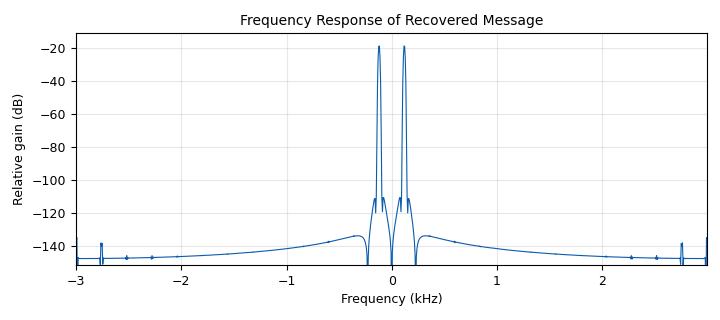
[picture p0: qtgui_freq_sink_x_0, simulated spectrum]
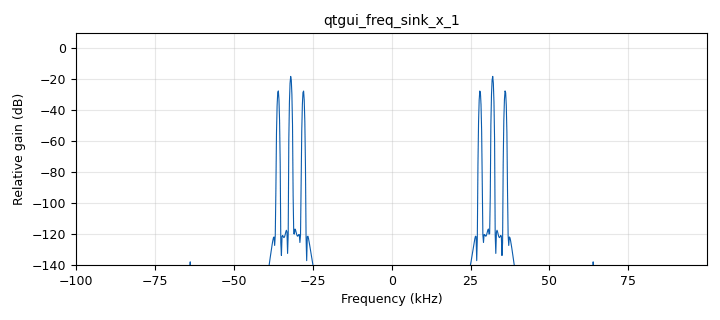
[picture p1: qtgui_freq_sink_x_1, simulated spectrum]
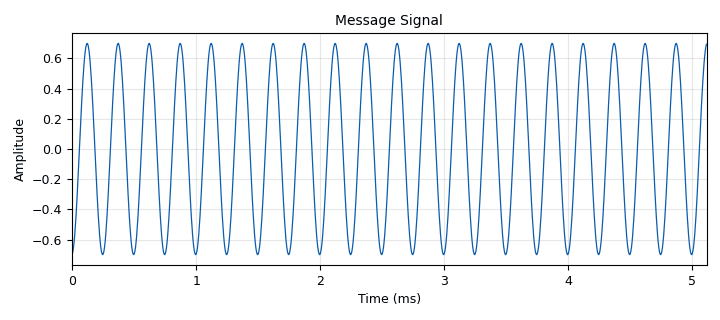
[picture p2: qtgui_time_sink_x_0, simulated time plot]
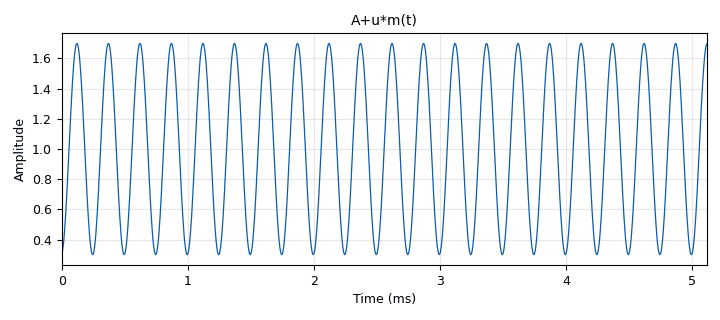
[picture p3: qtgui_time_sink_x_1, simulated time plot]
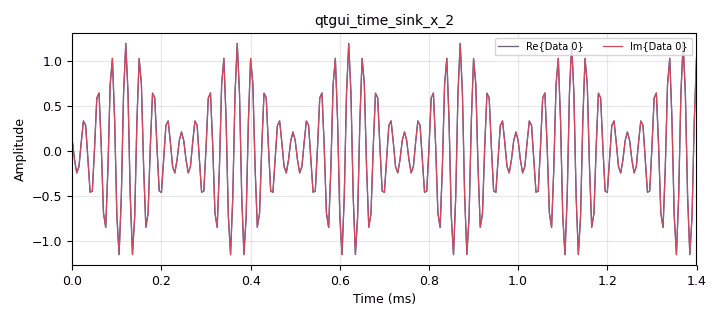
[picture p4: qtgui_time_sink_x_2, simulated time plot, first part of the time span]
<?xml version='1.0' encoding='utf-8'?>
<?grc format='1' created='3.7.9'?>
<flow_graph>
<block>
<key>options</key>
<param><key>id</key><value>AM_TX</value></param>
<param><key>category</key><value>Custom</value></param>
<param><key>generate_options</key><value>qt_gui</value></param>
</block>
<block>
<key>variable_qtgui_range</key>
<param><key>id</key><value>A</value></param>
<param><key>value</key><value>1</value></param>
<param><key>label</key><value>Amplitude</value></param>
<param><key>orient</key><value>Qt.Horizontal</value></param>
<param><key>start</key><value>0</value></param>
<param><key>step</key><value>0.1</value></param>
<param><key>stop</key><value>1</value></param>
</block>
<block>
<key>variable_qtgui_range</key>
<param><key>id</key><value>fc</value></param>
<param><key>value</key><value>32000</value></param>
<param><key>orient</key><value>Qt.Horizontal</value></param>
<param><key>start</key><value>16000</value></param>
<param><key>step</key><value>100</value></param>
<param><key>stop</key><value>samp_rate/2</value></param>
</block>
<block>
<key>variable_qtgui_range</key>
<param><key>id</key><value>fm</value></param>
<param><key>value</key><value>4000</value></param>
<param><key>label</key><value>Modulation/Message Signal Frequency</value></param>
<param><key>orient</key><value>Qt.Horizontal</value></param>
<param><key>start</key><value>0</value></param>
<param><key>step</key><value>1</value></param>
<param><key>stop</key><value>10000</value></param>
</block>
<block>
<key>variable_qtgui_range</key>
<param><key>id</key><value>gain</value></param>
<param><key>value</key><value>50</value></param>
<param><key>orient</key><value>Qt.Horizontal</value></param>
<param><key>start</key><value>0</value></param>
<param><key>step</key><value>1</value></param>
<param><key>stop</key><value>100</value></param>
</block>
<block>
<key>variable</key>
<param><key>id</key><value>samp_rate</value></param>
<param><key>value</key><value>200000</value></param>
</block>
<block>
<key>variable_qtgui_range</key>
<param><key>id</key><value>u</value></param>
<param><key>value</key><value>1</value></param>
<param><key>label</key><value>Modulation Index</value></param>
<param><key>orient</key><value>Qt.Horizontal</value></param>
<param><key>start</key><value>0</value></param>
<param><key>step</key><value>200</value></param>
<param><key>stop</key><value>2</value></param>
</block>
<block>
<key>analog_sig_source_x</key>
<param><key>id</key><value>analog_sig_source_x_0</value></param>
<param><key>amp</key><value>0.7</value></param>
<param><key>freq</key><value>fm</value></param>
<param><key>offset</key><value>0</value></param>
<param><key>type</key><value>float</value></param>
<param><key>samp_rate</key><value>samp_rate</value></param>
<param><key>waveform</key><value>analog.GR_COS_WAVE</value></param>
</block>
<block>
<key>analog_sig_source_x</key>
<param><key>id</key><value>analog_sig_source_x_1</value></param>
<param><key>amp</key><value>0.7</value></param>
<param><key>freq</key><value>fc</value></param>
<param><key>offset</key><value>0</value></param>
<param><key>type</key><value>float</value></param>
<param><key>samp_rate</key><value>samp_rate</value></param>
<param><key>waveform</key><value>analog.GR_COS_WAVE</value></param>
</block>
<block>
<key>blocks_add_const_vxx</key>
<param><key>id</key><value>blocks_add_const_vxx_0</value></param>
<param><key>const</key><value>A</value></param>
<param><key>type</key><value>float</value></param>
</block>
<block>
<key>blocks_float_to_complex</key>
<param><key>id</key><value>blocks_float_to_complex_0</value></param>
</block>
<block>
<key>blocks_multiply_const_vxx</key>
<param><key>id</key><value>blocks_multiply_const_vxx_0</value></param>
<param><key>const</key><value>u</value></param>
<param><key>type</key><value>float</value></param>
</block>
<block>
<key>blocks_multiply_xx</key>
<param><key>id</key><value>blocks_multiply_xx_0</value></param>
<param><key>type</key><value>float</value></param>
</block>
<block>
<key>qtgui_freq_sink_x</key>
<param><key>id</key><value>qtgui_freq_sink_x_0</value></param>
<param><key>autoscale</key><value>True</value></param>
<param><key>bw</key><value>6e3</value></param>
<param><key>fc</key><value>0</value></param>
<param><key>fftsize</key><value>1024</value></param>
<param><key>name</key><value>Frequency Response of Recovered Message</value></param>
<param><key>showports</key><value>True</value></param>
<param><key>type</key><value>float</value></param>
<param><key>update_time</key><value>0.30</value></param>
<param><key>wintype</key><value>firdes.WIN_BLACKMAN_hARRIS</value></param>
</block>
<block>
<key>qtgui_freq_sink_x</key>
<param><key>id</key><value>qtgui_freq_sink_x_1</value></param>
<param><key>bw</key><value>samp_rate</value></param>
<param><key>fc</key><value>0</value></param>
<param><key>fftsize</key><value>1024</value></param>
<param><key>showports</key><value>True</value></param>
<param><key>type</key><value>float</value></param>
<param><key>wintype</key><value>firdes.WIN_BLACKMAN_hARRIS</value></param>
</block>
<block>
<key>qtgui_time_sink_x</key>
<param><key>id</key><value>qtgui_time_sink_x_0</value></param>
<param><key>autoscale</key><value>True</value></param>
<param><key>color1</key><value>"blue"</value></param>
<param><key>label1</key><value></value></param>
<param><key>name</key><value>Message Signal</value></param>
<param><key>size</key><value>1024</value></param>
<param><key>srate</key><value>samp_rate</value></param>
<param><key>type</key><value>float</value></param>
<param><key>update_time</key><value>0.30</value></param>
</block>
<block>
<key>qtgui_time_sink_x</key>
<param><key>id</key><value>qtgui_time_sink_x_1</value></param>
<param><key>autoscale</key><value>True</value></param>
<param><key>color1</key><value>"blue"</value></param>
<param><key>label1</key><value></value></param>
<param><key>name</key><value>A+u*m(t)</value></param>
<param><key>size</key><value>1024</value></param>
<param><key>srate</key><value>samp_rate</value></param>
<param><key>type</key><value>float</value></param>
<param><key>update_time</key><value>0.30</value></param>
</block>
<block>
<key>qtgui_time_sink_x</key>
<param><key>id</key><value>qtgui_time_sink_x_2</value></param>
<param><key>autoscale</key><value>True</value></param>
<param><key>color1</key><value>"blue"</value></param>
<param><key>label1</key><value></value></param>
<param><key>color2</key><value>"red"</value></param>
<param><key>label2</key><value></value></param>
<param><key>size</key><value>1024</value></param>
<param><key>srate</key><value>samp_rate</value></param>
<param><key>type</key><value>complex</value></param>
</block>
<block>
<key>uhd_usrp_sink</key>
<param><key>id</key><value>uhd_usrp_sink_0</value></param>
<param><key>ant0</key><value>TX/RX</value></param>
<param><key>bw0</key><value>200e6</value></param>
<param><key>center_freq0</key><value>1280e6</value></param>
<param><key>norm_gain0</key><value>False</value></param>
<param><key>gain0</key><value>gain</value></param>
<param><key>clock_rate</key><value>0.0</value></param>
<param><key>dev_addr</key><value>addr=192.168.10.2</value></param>
<param><key>dev_args</key><value>""</value></param>
<param><key>type</key><value>fc32</value></param>
<param><key>samp_rate</key><value>samp_rate</value></param>
<param><key>hide_cmd_port</key><value>False</value></param>
<param><key>sync</key><value></value></param>
<param><key>len_tag_name</key><value></value></param>
</block>
<connection><source_block_id>analog_sig_source_x_0</source_block_id><sink_block_id>blocks_multiply_const_vxx_0</sink_block_id><source_key>0</source_key><sink_key>0</sink_key></connection>
<connection><source_block_id>analog_sig_source_x_0</source_block_id><sink_block_id>qtgui_freq_sink_x_0</sink_block_id><source_key>0</source_key><sink_key>0</sink_key></connection>
<connection><source_block_id>analog_sig_source_x_0</source_block_id><sink_block_id>qtgui_time_sink_x_0</sink_block_id><source_key>0</source_key><sink_key>0</sink_key></connection>
<connection><source_block_id>analog_sig_source_x_1</source_block_id><sink_block_id>blocks_multiply_xx_0</sink_block_id><source_key>0</source_key><sink_key>1</sink_key></connection>
<connection><source_block_id>blocks_add_const_vxx_0</source_block_id><sink_block_id>blocks_multiply_xx_0</sink_block_id><source_key>0</source_key><sink_key>0</sink_key></connection>
<connection><source_block_id>blocks_add_const_vxx_0</source_block_id><sink_block_id>qtgui_time_sink_x_1</sink_block_id><source_key>0</source_key><sink_key>0</sink_key></connection>
<connection><source_block_id>blocks_float_to_complex_0</source_block_id><sink_block_id>qtgui_time_sink_x_2</sink_block_id><source_key>0</source_key><sink_key>0</sink_key></connection>
<connection><source_block_id>blocks_float_to_complex_0</source_block_id><sink_block_id>uhd_usrp_sink_0</sink_block_id><source_key>0</source_key><sink_key>0</sink_key></connection>
<connection><source_block_id>blocks_multiply_const_vxx_0</source_block_id><sink_block_id>blocks_add_const_vxx_0</sink_block_id><source_key>0</source_key><sink_key>0</sink_key></connection>
<connection><source_block_id>blocks_multiply_xx_0</source_block_id><sink_block_id>blocks_float_to_complex_0</sink_block_id><source_key>0</source_key><sink_key>1</sink_key></connection>
<connection><source_block_id>blocks_multiply_xx_0</source_block_id><sink_block_id>blocks_float_to_complex_0</sink_block_id><source_key>0</source_key><sink_key>0</sink_key></connection>
<connection><source_block_id>blocks_multiply_xx_0</source_block_id><sink_block_id>qtgui_freq_sink_x_1</sink_block_id><source_key>0</source_key><sink_key>0</sink_key></connection>
</flow_graph>
